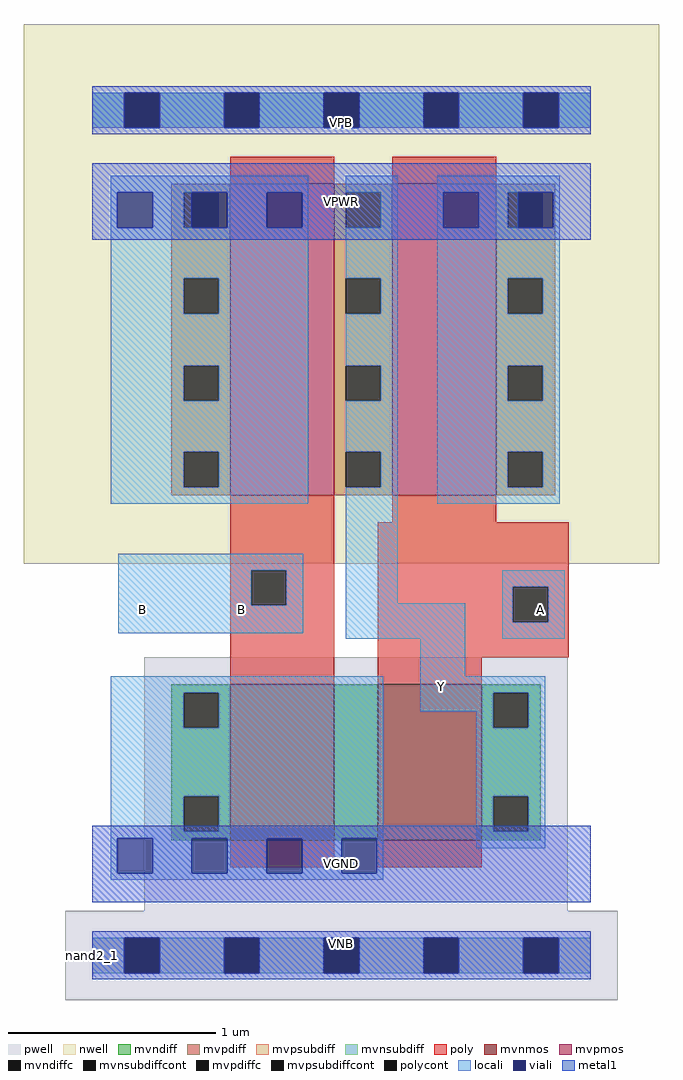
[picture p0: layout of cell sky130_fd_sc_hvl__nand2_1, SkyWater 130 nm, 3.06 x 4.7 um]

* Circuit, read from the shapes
.subckt sky130_fd_sc_hvl__nand2_1 A B VGND VNB VPB VPWR Y
XM1 n1 B VGND VNB sky130_fd_pr__nfet_g5v0d10v5 w=0.75 l=0.5
XM2 Y A n1 VNB sky130_fd_pr__nfet_g5v0d10v5 w=0.75 l=0.5
XM3 Y B VPWR VPB sky130_fd_pr__pfet_g5v0d10v5 w=1.5 l=0.5
XM4 VPWR A Y VPB sky130_fd_pr__pfet_g5v0d10v5 w=1.5 l=0.5
.ends

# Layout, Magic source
magic
tech sky130B
magscale 1 2
<< nwell >>
rect -66 377 546 897
<< pwell >>
rect 50 43 458 287
rect -26 -43 506 43
<< mvnmos >>
rect 133 111 233 261
rect 275 111 375 261
<< mvpmos >>
rect 133 443 233 743
rect 289 443 389 743
<< mvndiff >>
rect 76 253 133 261
rect 76 219 88 253
rect 122 219 133 253
rect 76 153 133 219
rect 76 119 88 153
rect 122 119 133 153
rect 76 111 133 119
rect 233 111 275 261
rect 375 253 432 261
rect 375 219 386 253
rect 420 219 432 253
rect 375 153 432 219
rect 375 119 386 153
rect 420 119 432 153
rect 375 111 432 119
<< mvpdiff >>
rect 76 735 133 743
rect 76 701 88 735
rect 122 701 133 735
rect 76 652 133 701
rect 76 618 88 652
rect 122 618 133 652
rect 76 568 133 618
rect 76 534 88 568
rect 122 534 133 568
rect 76 485 133 534
rect 76 451 88 485
rect 122 451 133 485
rect 76 443 133 451
rect 233 735 289 743
rect 233 701 244 735
rect 278 701 289 735
rect 233 652 289 701
rect 233 618 244 652
rect 278 618 289 652
rect 233 568 289 618
rect 233 534 244 568
rect 278 534 289 568
rect 233 485 289 534
rect 233 451 244 485
rect 278 451 289 485
rect 233 443 289 451
rect 389 735 446 743
rect 389 701 400 735
rect 434 701 446 735
rect 389 652 446 701
rect 389 618 400 652
rect 434 618 446 652
rect 389 568 446 618
rect 389 534 400 568
rect 434 534 446 568
rect 389 485 446 534
rect 389 451 400 485
rect 434 451 446 485
rect 389 443 446 451
<< mvndiffc >>
rect 88 219 122 253
rect 88 119 122 153
rect 386 219 420 253
rect 386 119 420 153
<< mvpdiffc >>
rect 88 701 122 735
rect 88 618 122 652
rect 88 534 122 568
rect 88 451 122 485
rect 244 701 278 735
rect 244 618 278 652
rect 244 534 278 568
rect 244 451 278 485
rect 400 701 434 735
rect 400 618 434 652
rect 400 534 434 568
rect 400 451 434 485
<< mvpsubdiff >>
rect 0 -17 31 17
rect 65 -17 127 17
rect 161 -17 223 17
rect 257 -17 319 17
rect 353 -17 415 17
rect 449 -17 480 17
<< mvnsubdiff >>
rect 0 797 31 831
rect 65 797 127 831
rect 161 797 223 831
rect 257 797 319 831
rect 353 797 415 831
rect 449 797 480 831
<< mvpsubdiffcont >>
rect 31 -17 65 17
rect 127 -17 161 17
rect 223 -17 257 17
rect 319 -17 353 17
rect 415 -17 449 17
<< mvnsubdiffcont >>
rect 31 797 65 831
rect 127 797 161 831
rect 223 797 257 831
rect 319 797 353 831
rect 415 797 449 831
<< poly >>
rect 133 743 233 769
rect 289 743 389 769
rect 133 371 233 443
rect 289 417 389 443
rect 133 337 153 371
rect 187 337 233 371
rect 133 261 233 337
rect 275 355 459 417
rect 275 321 405 355
rect 439 321 459 355
rect 275 287 459 321
rect 275 261 375 287
rect 133 85 233 111
rect 275 85 375 111
<< polycont >>
rect 153 337 187 371
rect 405 321 439 355
<< locali >>
rect 0 797 31 831
rect 65 797 127 831
rect 161 797 223 831
rect 257 797 319 831
rect 353 797 415 831
rect 449 797 480 831
rect 18 735 208 751
rect 18 701 24 735
rect 58 701 88 735
rect 130 701 168 735
rect 202 701 208 735
rect 18 652 208 701
rect 18 618 88 652
rect 122 618 208 652
rect 18 568 208 618
rect 18 534 88 568
rect 122 534 208 568
rect 18 485 208 534
rect 18 451 88 485
rect 122 451 208 485
rect 18 435 208 451
rect 244 735 294 751
rect 278 701 294 735
rect 244 652 294 701
rect 278 618 294 652
rect 244 568 294 618
rect 278 534 294 568
rect 244 485 294 534
rect 278 451 294 485
rect 25 371 203 387
rect 25 337 153 371
rect 187 337 203 371
rect 25 310 203 337
rect 244 339 294 451
rect 332 735 450 751
rect 332 701 338 735
rect 372 701 400 735
rect 444 701 450 735
rect 332 652 450 701
rect 332 618 400 652
rect 434 618 450 652
rect 332 568 450 618
rect 332 534 400 568
rect 434 534 450 568
rect 332 485 450 534
rect 332 451 400 485
rect 434 451 450 485
rect 332 435 450 451
rect 395 355 455 371
rect 244 305 359 339
rect 395 321 405 355
rect 439 321 455 355
rect 395 305 455 321
rect 316 269 359 305
rect 18 253 280 269
rect 18 219 88 253
rect 122 219 280 253
rect 316 253 436 269
rect 316 235 386 253
rect 18 153 280 219
rect 18 119 88 153
rect 122 119 280 153
rect 18 113 280 119
rect 18 79 24 113
rect 58 79 96 113
rect 130 79 168 113
rect 202 79 240 113
rect 274 79 280 113
rect 370 219 386 235
rect 420 219 436 253
rect 370 153 436 219
rect 370 119 386 153
rect 420 119 436 153
rect 370 103 436 119
rect 18 73 280 79
rect 0 -17 31 17
rect 65 -17 127 17
rect 161 -17 223 17
rect 257 -17 319 17
rect 353 -17 415 17
rect 449 -17 480 17
<< viali >>
rect 31 797 65 831
rect 127 797 161 831
rect 223 797 257 831
rect 319 797 353 831
rect 415 797 449 831
rect 24 701 58 735
rect 96 701 122 735
rect 122 701 130 735
rect 168 701 202 735
rect 338 701 372 735
rect 410 701 434 735
rect 434 701 444 735
rect 24 79 58 113
rect 96 79 130 113
rect 168 79 202 113
rect 240 79 274 113
rect 31 -17 65 17
rect 127 -17 161 17
rect 223 -17 257 17
rect 319 -17 353 17
rect 415 -17 449 17
<< metal1 >>
rect 0 831 480 837
rect 0 797 31 831
rect 65 797 127 831
rect 161 797 223 831
rect 257 797 319 831
rect 353 797 415 831
rect 449 797 480 831
rect 0 791 480 797
rect 0 735 480 763
rect 0 701 24 735
rect 58 701 96 735
rect 130 701 168 735
rect 202 701 338 735
rect 372 701 410 735
rect 444 701 480 735
rect 0 689 480 701
rect 0 113 480 125
rect 0 79 24 113
rect 58 79 96 113
rect 130 79 168 113
rect 202 79 240 113
rect 274 79 480 113
rect 0 51 480 79
rect 0 17 480 23
rect 0 -17 31 17
rect 65 -17 127 17
rect 161 -17 223 17
rect 257 -17 319 17
rect 353 -17 415 17
rect 449 -17 480 17
rect 0 -23 480 -17
<< labels >>
rlabel comment s 0 0 0 0 4 nand2_1
flabel metal1 s 0 51 480 125 0 FreeSans 340 0 0 0 VGND
port 3 nsew ground bidirectional
flabel metal1 s 0 0 480 23 0 FreeSans 340 0 0 0 VNB
port 4 nsew ground bidirectional
flabel metal1 s 0 689 480 763 0 FreeSans 340 0 0 0 VPWR
port 6 nsew power bidirectional
flabel metal1 s 0 791 480 814 0 FreeSans 340 0 0 0 VPB
port 5 nsew power bidirectional
flabel locali s 415 316 449 350 0 FreeSans 340 0 0 0 A
port 1 nsew signal input
flabel locali s 319 242 353 276 0 FreeSans 340 0 0 0 Y
port 7 nsew signal output
flabel locali s 31 316 65 350 0 FreeSans 340 0 0 0 B
port 2 nsew signal input
flabel locali s 127 316 161 350 0 FreeSans 340 0 0 0 B
port 2 nsew signal input
<< properties >>
string FIXED_BBOX 0 0 480 814
string GDS_END 211558
string GDS_FILE $PDKPATH/libs.ref/sky130_fd_sc_hvl/gds/sky130_fd_sc_hvl.gds
string GDS_START 204800
string LEFclass CORE
string LEFsite unithv
string LEFsymmetry X Y
<< end >>
